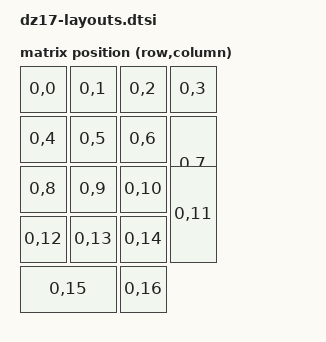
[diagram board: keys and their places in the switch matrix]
#include <dt-bindings/zmk/matrix_transform.h>
#include <physical_layouts.dtsi>

/ {
    dz17_transform: dz17_transform {
        compatible = "zmk,matrix-transform";
        columns = <17>;
        rows = <1>;
        // Direct GPIO: each key maps 1:1 to its input-gpios index.
        map = <
            RC(0,0)  RC(0,1)  RC(0,2)  RC(0,3)
            RC(0,4)  RC(0,5)  RC(0,6)  RC(0,7)
            RC(0,8)  RC(0,9)  RC(0,10) RC(0,11)
            RC(0,12) RC(0,13) RC(0,14)
            RC(0,15) RC(0,16)
        >;
    };

    dz17_layout: dz17_layout {
        compatible = "zmk,physical-layout";
        display-name = "DZ17 Numpad";
        transform = <&dz17_transform>;

        keys
            // w   h   x    y    r   rx  ry
            // Row 1: NUM  /    *    -
            = <&key_physical_attrs 100 100   0   0   0 0 0>
            , <&key_physical_attrs 100 100 100   0   0 0 0>
            , <&key_physical_attrs 100 100 200   0   0 0 0>
            , <&key_physical_attrs 100 100 300   0   0 0 0>
            // Row 2: 7    8    9    + (2u tall)
            , <&key_physical_attrs 100 100   0 100   0 0 0>
            , <&key_physical_attrs 100 100 100 100   0 0 0>
            , <&key_physical_attrs 100 100 200 100   0 0 0>
            , <&key_physical_attrs 100 200 300 100   0 0 0>
            // Row 3: 4    5    6    Enter (2u tall)
            , <&key_physical_attrs 100 100   0 200   0 0 0>
            , <&key_physical_attrs 100 100 100 200   0 0 0>
            , <&key_physical_attrs 100 100 200 200   0 0 0>
            , <&key_physical_attrs 100 200 300 200   0 0 0>
            // Row 4: 1    2    3
            , <&key_physical_attrs 100 100   0 300   0 0 0>
            , <&key_physical_attrs 100 100 100 300   0 0 0>
            , <&key_physical_attrs 100 100 200 300   0 0 0>
            // Row 5: 0 (2u wide)   .
            , <&key_physical_attrs 200 100   0 400   0 0 0>
            , <&key_physical_attrs 100 100 200 400   0 0 0>
            ;
    };
};
